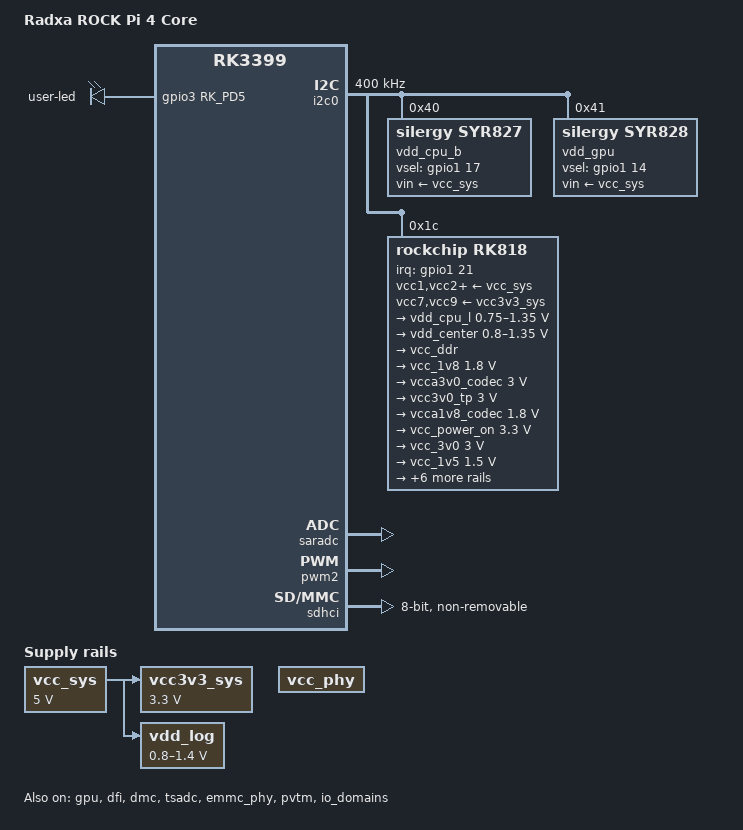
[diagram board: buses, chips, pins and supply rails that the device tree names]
// SPDX-License-Identifier: (GPL-2.0+ OR MIT)
/*
 * Copyright (c) 2024 Rockchip Electronics Co., Ltd.
 * Copyright (c) 2024 Radxa Computer (Shenzhen) Co., Ltd.
 *
 */

#include <dt-bindings/pwm/pwm.h>
#include <dt-bindings/input/input.h>
#include "rk3399.dtsi"
#include "rk3399-linux.dtsi"
#include "rk3399-opp.dtsi"
#include "rk3399-vop-clk-set.dtsi"

/ {
	model = "Radxa ROCK Pi 4 Core";
	compatible = "radxa,rock-pi-4-core", "rockchip,rk3399";

	vcc_sys: vcc-sys {
		compatible = "regulator-fixed";
		regulator-name = "vcc_sys";
		regulator-min-microvolt = <5000000>;
		regulator-max-microvolt = <5000000>;
		regulator-always-on;
		regulator-boot-on;
	};

	vcc3v3_sys: vcc3v3-sys {
		compatible = "regulator-fixed";
		regulator-name = "vcc3v3_sys";
		regulator-min-microvolt = <3300000>;
		regulator-max-microvolt = <3300000>;
		regulator-always-on;
		regulator-boot-on;
		vin-supply = <&vcc_sys>;
	};

	vdd_log: vdd-log {
		compatible = "pwm-regulator";
		pwms = <&pwm2 0 25000 1>;
		regulator-name = "vdd_log";
		regulator-min-microvolt = <800000>;
		regulator-max-microvolt = <1400000>;
		regulator-always-on;
		regulator-boot-on;

		/* for rockchip boot on */
		rockchip,pwm_id= <2>;
		rockchip,pwm_voltage = <900000>;

		vin-supply = <&vcc_sys>;
	};

	vcc_phy: vcc-phy-regulator {
		compatible = "regulator-fixed";
		regulator-name = "vcc_phy";
		regulator-always-on;
		regulator-boot-on;
	};

	gpio-leds {
		compatible = "gpio-leds";
		status = "okay";

		user-led {
			gpios = <&gpio3 RK_PD5 GPIO_ACTIVE_HIGH>;
			linux,default-trigger = "heartbeat";
		};
	};
};

&i2c0 {
	status = "okay";
	i2c-scl-rising-time-ns = <180>;
	i2c-scl-falling-time-ns = <30>;
	clock-frequency = <400000>;

	vdd_cpu_b: syr837@40 {
		compatible = "silergy,syr827";
		reg = <0x40>;
		vin-supply = <&vcc_sys>;
		regulator-compatible = "fan53555-reg";
		pinctrl-0 = <&vsel1_gpio>;
		vsel-gpios = <&gpio1 17 GPIO_ACTIVE_HIGH>;
		regulator-name = "vdd_cpu_b";
		regulator-min-microvolt = <712500>;
		regulator-max-microvolt = <1500000>;
		regulator-ramp-delay = <1000>;
		fcs,suspend-voltage-selector = <1>;
		regulator-always-on;
		regulator-initial-state = <3>;
		regulator-state-mem {
			regulator-off-in-suspend;
		};
	};

	vdd_gpu: syr828@41 {
		compatible = "silergy,syr828";
		status = "okay";
		reg = <0x41>;
		vin-supply = <&vcc_sys>;
		regulator-compatible = "fan53555-reg";
		pinctrl-0 = <&vsel2_gpio>;
		vsel-gpios = <&gpio1 14 GPIO_ACTIVE_HIGH>;
		regulator-name = "vdd_gpu";
		regulator-min-microvolt = <735000>;
		regulator-max-microvolt = <1400000>;
		regulator-ramp-delay = <1000>;
		fcs,suspend-voltage-selector = <1>;
		regulator-always-on;
		regulator-boot-on;
		regulator-state-mem {
			regulator-off-in-suspend;
		};
	};

	rk818: pmic@1c {
		compatible = "rockchip,rk818";
		status = "okay";
		reg = <0x1c>;
		clock-output-names = "rk818-clkout1", "wifibt_32kin";
		interrupt-parent = <&gpio1>;
		interrupts = <21 IRQ_TYPE_LEVEL_LOW>;
		pinctrl-names = "default";
		pinctrl-0 = <&pmic_int_l>;
		rockchip,system-power-controller;
		rk818,support_dc_chg = <1>; /*1: dc chg; 0:usb chg*/
		wakeup-source;
		extcon = <&fusb0>;
		#clock-cells = <1>;

		vcc1-supply = <&vcc_sys>;
		vcc2-supply = <&vcc_sys>;
		vcc3-supply = <&vcc_sys>;
		vcc4-supply = <&vcc_sys>;
		vcc6-supply = <&vcc_sys>;
		vcc7-supply = <&vcc3v3_sys>;
		vcc8-supply = <&vcc_sys>;
		vcc9-supply = <&vcc3v3_sys>;

		regulators {
			vdd_cpu_l: DCDC_REG1 {
				regulator-name = "vdd_cpu_l";
				regulator-always-on;
				regulator-boot-on;
				regulator-min-microvolt = <750000>;
				regulator-max-microvolt = <1350000>;
				regulator-ramp-delay = <6001>;
				regulator-state-mem {
					regulator-off-in-suspend;
				};
			};

			vdd_center: DCDC_REG2 {
				regulator-name = "vdd_center";
				regulator-always-on;
				regulator-boot-on;
				regulator-min-microvolt = <800000>;
				regulator-max-microvolt = <1350000>;
				regulator-ramp-delay = <6001>;
				regulator-state-mem {
					regulator-off-in-suspend;
				};
			};

			vcc_ddr: DCDC_REG3 {
				regulator-name = "vcc_ddr";
				regulator-always-on;
				regulator-boot-on;
				regulator-state-mem {
					regulator-on-in-suspend;
				};
			};

			vcc_1v8: DCDC_REG4 {
				regulator-name = "vcc_1v8";
				regulator-always-on;
				regulator-boot-on;
				regulator-min-microvolt = <1800000>;
				regulator-max-microvolt = <1800000>;
				regulator-state-mem {
					regulator-on-in-suspend;
					regulator-suspend-microvolt = <1800000>;
				};
			};

			vcca3v0_codec: LDO_REG1 {
				regulator-always-on;
				regulator-boot-on;
				regulator-min-microvolt = <3000000>;
				regulator-max-microvolt = <3000000>;
				regulator-name = "vcca3v0_codec";
				regulator-state-mem {
					regulator-off-in-suspend;
				};
			};

			vcc3v0_tp: LDO_REG2 {
				regulator-always-on;
				regulator-boot-on;
				regulator-min-microvolt = <3000000>;
				regulator-max-microvolt = <3000000>;
				regulator-name = "vcc3v0_tp";
				regulator-state-mem {
					regulator-off-in-suspend;
				};
			};

			vcca1v8_codec: LDO_REG3 {
				regulator-always-on;
				regulator-boot-on;
				regulator-min-microvolt = <1800000>;
				regulator-max-microvolt = <1800000>;
				regulator-name = "vcca1v8_codec";
				regulator-state-mem {
					regulator-off-in-suspend;
				};
			};

			vcc_power_on: LDO_REG4 {
				regulator-always-on;
				regulator-boot-on;
				regulator-min-microvolt = <3300000>;
				regulator-max-microvolt = <3300000>;
				regulator-name = "vcc_power_on";
				regulator-state-mem {
					regulator-on-in-suspend;
					regulator-suspend-microvolt = <3300000>;
				};
			};

			vcc_3v0: LDO_REG5 {
				regulator-always-on;
				regulator-boot-on;
				regulator-min-microvolt = <3000000>;
				regulator-max-microvolt = <3000000>;
				regulator-name = "vcc_3v0";
				regulator-state-mem {
					regulator-on-in-suspend;
					regulator-suspend-microvolt = <3000000>;
				};
			};

			vcc_1v5: LDO_REG6 {
				regulator-always-on;
				regulator-boot-on;
				regulator-min-microvolt = <1500000>;
				regulator-max-microvolt = <1500000>;
				regulator-name = "vcc_1v5";
				regulator-state-mem {
					regulator-on-in-suspend;
					regulator-suspend-microvolt = <1500000>;
				};
			};

			vcc1v8_dvp: LDO_REG7 {
				regulator-always-on;
				regulator-boot-on;
				regulator-min-microvolt = <1800000>;
				regulator-max-microvolt = <1800000>;
				regulator-name = "vcc1v8_dvp";
				regulator-state-mem {
					regulator-off-in-suspend;
				};
			};

			vcc3v3_s3: LDO_REG8 {
				regulator-always-on;
				regulator-boot-on;
				regulator-min-microvolt = <3300000>;
				regulator-max-microvolt = <3300000>;
				regulator-name = "vcc3v3_s3";
				regulator-state-mem {
					regulator-off-in-suspend;
				};
			};

			vcc_sd: LDO_REG9 {
				regulator-always-on;
				regulator-boot-on;
				regulator-min-microvolt = <1800000>;
				regulator-max-microvolt = <3000000>;
				regulator-name = "vcc_sd";
				regulator-state-mem {
					regulator-on-in-suspend;
					regulator-suspend-microvolt = <3000000>;
				};
			};

			vcc3v3_s0: SWITCH_REG {
				regulator-always-on;
				regulator-boot-on;
				regulator-name = "vcc3v3_s0";
				regulator-state-mem {
					regulator-on-in-suspend;
				};
			};

			boost_otg: DCDC_BOOST {
				regulator-name = "boost_otg";
				regulator-always-on;
				regulator-boot-on;
				regulator-min-microvolt = <5000000>;
				regulator-max-microvolt = <5000000>;
				regulator-state-mem {
					regulator-on-in-suspend;
					regulator-suspend-microvolt = <5000000>;
				};
			};

			otg_switch: OTG_SWITCH {
				regulator-name = "otg_switch";
			};
		};

		battery {
			compatible = "rk818-battery";
			ocv_table = <3400 3675 3689 3716 3740 3756 3768 3780
				3793 3807 3827 3853 3896 3937 3974 4007 4066
				4110 4161 4217 4308>;
			design_capacity = <7916>;
			design_qmax = <8708>;
			bat_res = <65>;
			max_input_current = <3000>;
			max_chrg_current = <3000>;
			max_chrg_voltage = <4350>;
			sleep_enter_current = <300>;
			sleep_exit_current = <300>;
			power_off_thresd = <3400>;
			zero_algorithm_vol = <3950>;
			fb_temperature = <105>;
			sample_res = <20>;
			max_soc_offset = <60>;
			energy_mode = <0>;
			monitor_sec = <5>;
			virtual_power = <0>;
			power_dc2otg = <0>;
		};
	};
};

&cpu_l0 {
	cpu-supply = <&vdd_cpu_l>;
};

&cpu_l1 {
	cpu-supply = <&vdd_cpu_l>;
};

&cpu_l2 {
	cpu-supply = <&vdd_cpu_l>;
};

&cpu_l3 {
	cpu-supply = <&vdd_cpu_l>;
};

&cpu_b0 {
	cpu-supply = <&vdd_cpu_b>;
};

&cpu_b1 {
	cpu-supply = <&vdd_cpu_b>;
};

&gpu {
	status = "okay";
	mali-supply = <&vdd_gpu>;
};

&dfi {
	status = "okay";
};

&dmc {
	status = "okay";
	center-supply = <&vdd_center>;
	upthreshold = <40>;
	downdifferential = <20>;
	system-status-freq = <
		/*system status         freq(KHz)*/
		SYS_STATUS_NORMAL       800000
		SYS_STATUS_REBOOT       528000
		SYS_STATUS_SUSPEND      200000
		SYS_STATUS_VIDEO_1080P  200000
		SYS_STATUS_VIDEO_4K     600000
		SYS_STATUS_VIDEO_4K_10B 800000
		SYS_STATUS_PERFORMANCE  800000
		SYS_STATUS_BOOST        600000
		SYS_STATUS_DUALVIEW     600000
		SYS_STATUS_ISP          600000
	>;
	vop-bw-dmc-freq = <
	/* min_bw(MB/s) max_bw(MB/s) freq(KHz) */
		0       762      200000
		763     1893     400000
		1894    3012     528000
		3013    99999    800000
	>;

	auto-min-freq = <200000>;
};

&threshold {
	temperature = <85000>;
};

&target {
	temperature = <100000>;
};

&soc_crit {
	temperature = <105000>;
};

&tsadc {
	status = "okay";
	rockchip,hw-tshut-mode = <1>; /* tshut mode 0:CRU 1:GPIO */
	rockchip,hw-tshut-polarity = <1>; /* tshut polarity 0:LOW 1:HIGH */
	rockchip,hw-tshut-temp = <110000>;
};

&saradc {
	status = "okay";
};

&pwm2 {
	status = "okay";
};

&emmc_phy {
	status = "okay";
};

&sdhci {
	max-frequency = <150000000>;
	bus-width = <8>;
	mmc-hs200-1_8v;
	non-removable;
	status = "okay";
};

&spi1 {
	status = "disabled";
	max-freq = <10000000>;

	spiflash: spi-flash@0 {
		status = "disabled";
		#address-cells = <0x1>;
		#size-cells = <1>;
		compatible = "jedec,spi-nor";
		reg = <0x0>;
		spi-max-frequency = <10000000>;

		partitions {
			compatible = "fixed-partitions";
			#address-cells = <1>;
			#size-cells = <1>;

			loader@0 {
				label = "loader";
				reg = <0x0 0x400000>;
			};
		};
	};
};

&pvtm {
	status = "okay";
};

&pmu_pvtm {
	status = "okay";
};

&io_domains {
	status = "okay";
	bt656-supply = <&vcc_3v0>; /* bt656_gpio2ab_ms */
	audio-supply = <&vcc_1v8>; /* audio_gpio3d4a_ms */
	sdmmc-supply = <&vcc_sd>; /* sdmmc_gpio4b_ms */
	gpio1830-supply = <&vcc_3v0>; /* gpio1833_gpio4cd_ms */
};

&pmu_io_domains {
	status = "okay";
	pmu1830-supply = <&vcc_1v8>;
};

&rockchip_suspend {
	status = "okay";
	rockchip,sleep-debug-en = <1>;
	rockchip,sleep-mode-config = <
		(0
		| RKPM_SLP_ARMPD
		| RKPM_SLP_PERILPPD
		| RKPM_SLP_DDR_RET
		| RKPM_SLP_PLLPD
		| RKPM_SLP_CENTER_PD
		| RKPM_SLP_OSC_DIS
		| RKPM_SLP_AP_PWROFF
		)
	>;
	rockchip,wakeup-config = <
		(0
		| RKPM_GPIO_WKUP_EN
		)
	>;
	rockchip,pwm-regulator-config = <
		(0
		| PWM2_REGULATOR_EN
		)
	>;
	rockchip,power-ctrl =
		<&gpio1 17 GPIO_ACTIVE_HIGH>,
		<&gpio1 14 GPIO_ACTIVE_HIGH>;
};

&pinctrl {
	pmic {
		pmic_int_l: pmic-int-l {
			rockchip,pins =
				<1 RK_PC5 RK_FUNC_GPIO &pcfg_pull_up>;
		};

		pmic_dvs2: pmic-dvs2 {
			rockchip,pins =
				<1 RK_PC2 RK_FUNC_GPIO &pcfg_pull_down>;
		};
		vsel1_gpio: vsel1-gpio {
			rockchip,pins =
				<1 RK_PC1 RK_FUNC_GPIO &pcfg_pull_down>;
		};
		vsel2_gpio: vsel2-gpio {
			rockchip,pins =
				<1 RK_PB6 RK_FUNC_GPIO &pcfg_pull_down>;
		};
	};
};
